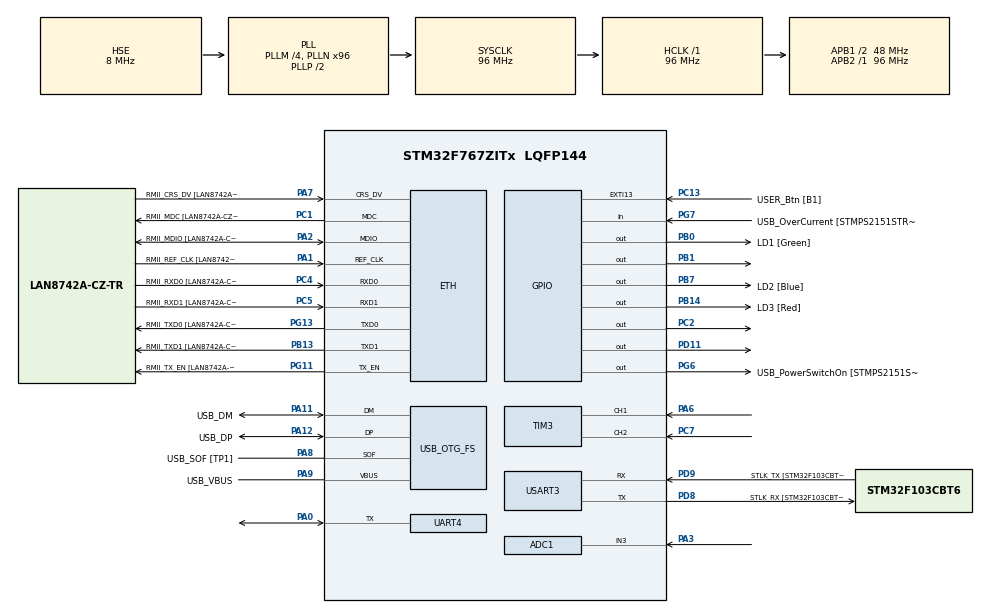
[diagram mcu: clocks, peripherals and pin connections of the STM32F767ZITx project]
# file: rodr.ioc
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ADC1.Channel-1\#ChannelRegularConversion=ADC_CHANNEL_3
ADC1.NbrOfConversionFlag=1
ADC1.Rank-1\#ChannelRegularConversion=1
ADC1.SamplingTime-1\#ChannelRegularConversion=ADC_SAMPLETIME_3CYCLES
ADC1.master=1
ETH.MediaInterface=HAL_ETH_RMII_MODE
ETH.PHY_Name=LAN8742A_PHY_ADDRESS
ETH.PHY_Value=0
ETH.PhyAddress=0
ETH.RxBuffLen=1536
FREERTOS.Mutexes01=dhtMutex,Dynamic,NULL,Available
FREERTOS.Queues01=UDPPressureQueue,4,float,0,Dynamic,NULL,NULL;posQueue,4,uint16_t,0,Dynamic,NULL,NULL;UDPTimestampQueue,4,uint32_t,0,Dynamic,NULL,NULL
FREERTOS.Tasks01=defaultTask,0,256,StartDefaultTask,Default,NULL,Dynamic,NULL,NULL;TCPServerTask,-3,512,StartTCPServerTask,Default,NULL,Dynamic,NULL,NULL;UDPStreamTask,-3,256,StartUDPStreamTask,Default,NULL,Dynamic,NULL,NULL;getPressureTask,-3,256,startGetPressureTask,Default,NULL,Dynamic,NULL,NULL;motorTask,-3,256,StartMotorTask,Default,NULL,Dynamic,NULL,NULL
FREERTOS.configTOTAL_HEAP_SIZE=20480
FREERTOS.configUSE_NEWLIB_REENTRANT=1
LWIP.BSP.number=1
LWIP.IP_ADDRESS=192.168.113.005
LWIP.LWIP_DHCP=0
LWIP.NETMASK_ADDRESS=255.255.255.000
LWIP.Version=v2.1.2_Cube
LWIP0.BSP.STBoard=false
LWIP0.BSP.api=BSP_COMPONENT_DRIVER
LWIP0.BSP.component=LAN8742
LWIP0.BSP.instance=LAN8742
LWIP0.BSP.name=Driver_PHY
LWIP0.BSP.semaphore=S_LAN8742
LWIP0.BSP.solution=LAN8742
Mcu.Family=STM32F7
Mcu.Name=STM32F767ZITx
Mcu.Package=LQFP144
NVIC.ETH_IRQn=true\:5\:0\:false\:false\:true\:true\:false\:true\:true
NVIC.PriorityGroup=NVIC_PRIORITYGROUP_4
NVIC.TIM8_TRG_COM_TIM14_IRQn=true\:15\:0\:false\:false\:true\:false\:false\:true\:true
NVIC.TimeBase=TIM8_TRG_COM_TIM14_IRQn
NVIC.TimeBaseIP=TIM14
PA0/WKUP.Mode=Half_duplex(single_wire_mode)
PA0/WKUP.Signal=UART4_TX
PA1.GPIO_Label=RMII_REF_CLK [LAN8742A-CZ-TR_REFCLK0]
PA1.Mode=RMII
PA1.Signal=ETH_REF_CLK
PA10.GPIO_Label=USB_ID
PA10.Signal=USB_OTG_FS_ID
PA11.GPIO_Label=USB_DM
PA11.Mode=Device_Only
PA11.Signal=USB_OTG_FS_DM
PA12.GPIO_Label=USB_DP
PA12.Mode=Device_Only
PA12.Signal=USB_OTG_FS_DP
PA13.GPIO_Label=TMS
PA13.Mode=Serial_Wire
PA13.Signal=SYS_JTMS-SWDIO
PA14.GPIO_Label=TCK
PA14.Mode=Serial_Wire
PA14.Signal=SYS_JTCK-SWCLK
PA2.GPIO_Label=RMII_MDIO [LAN8742A-CZ-TR_MDIO]
PA2.Mode=RMII
PA2.Signal=ETH_MDIO
PA3.Signal=ADCx_IN3
PA6.Signal=S_TIM3_CH1
PA7.GPIO_Label=RMII_CRS_DV [LAN8742A-CZ-TR_CRS_DV]
PA7.Mode=RMII
PA7.Signal=ETH_CRS_DV
PA8.GPIO_Label=USB_SOF [TP1]
PA8.Mode=Activate_SOF_FS
PA8.Signal=USB_OTG_FS_SOF
PA9.GPIO_Label=USB_VBUS
PA9.Mode=Activate_VBUS
PA9.Signal=USB_OTG_FS_VBUS
PB0.GPIO_Label=LD1 [Green]
PB0.Signal=GPIO_Output
PB1.Signal=GPIO_Output
PB13.GPIO_Label=RMII_TXD1 [LAN8742A-CZ-TR_TXD1]
PB13.Mode=RMII
PB13.Signal=ETH_TXD1
PB14.GPIO_Label=LD3 [Red]
PB14.Signal=GPIO_Output
PB3.GPIO_Label=SWO
PB3.Signal=SYS_JTDO-SWO
PB7.GPIO_Label=LD2 [Blue]
PB7.Signal=GPIO_Output
PC1.GPIO_Label=RMII_MDC [LAN8742A-CZ-TR_MDC]
PC1.Mode=RMII
PC1.Signal=ETH_MDC
PC13.GPIO_Label=USER_Btn [B1]
PC13.Signal=GPXTI13
PC14/OSC32_IN.Mode=LSE-External-Oscillator
PC14/OSC32_IN.Signal=RCC_OSC32_IN
PC15/OSC32_OUT.Mode=LSE-External-Oscillator
PC15/OSC32_OUT.Signal=RCC_OSC32_OUT
PC2.Signal=GPIO_Output
PC4.GPIO_Label=RMII_RXD0 [LAN8742A-CZ-TR_RXD0]
PC4.Mode=RMII
PC4.Signal=ETH_RXD0
PC5.GPIO_Label=RMII_RXD1 [LAN8742A-CZ-TR_RXD1]
PC5.Mode=RMII
PC5.Signal=ETH_RXD1
PC7.Signal=S_TIM3_CH2
PD11.Signal=GPIO_Output
PD8.GPIO_Label=STLK_RX [STM32F103CBT6_PA3]
PD8.Mode=Asynchronous
PD8.Signal=USART3_TX
PD9.GPIO_Label=STLK_TX [STM32F103CBT6_PA2]
PD9.Mode=Asynchronous
PD9.Signal=USART3_RX
PG11.GPIO_Label=RMII_TX_EN [LAN8742A-CZ-TR_TXEN]
PG11.Mode=RMII
PG11.Signal=ETH_TX_EN
PG13.GPIO_Label=RMII_TXD0 [LAN8742A-CZ-TR_TXD0]
PG13.Mode=RMII
PG13.Signal=ETH_TXD0
PG6.GPIO_Label=USB_PowerSwitchOn [STMPS2151STR_EN]
PG6.Signal=GPIO_Output
PG7.GPIO_Label=USB_OverCurrent [STMPS2151STR_FAULT]
PG7.Signal=GPIO_Input
PH0/OSC_IN.GPIO_Label=MCO [STM32F103CBT6_PA8]
PH0/OSC_IN.Mode=HSE-External-Clock-Source
PH0/OSC_IN.Signal=RCC_OSC_IN
PH1/OSC_OUT.Mode=HSE-External-Clock-Source
PH1/OSC_OUT.Signal=RCC_OSC_OUT
ProjectManager.HeapSize=0x200
ProjectManager.StackSize=0x400
ProjectManager.TargetToolchain=STM32CubeIDE
RCC.48MHZClocksFreq_Value=24000000
RCC.AHBFreq_Value=96000000
RCC.APB1CLKDivider=RCC_HCLK_DIV2
RCC.APB1Freq_Value=48000000
RCC.APB1TimFreq_Value=96000000
RCC.APB2Freq_Value=96000000
RCC.APB2TimFreq_Value=96000000
RCC.CortexFreq_Value=96000000
RCC.HCLKFreq_Value=96000000
RCC.HSE_VALUE=8000000
RCC.HSI_VALUE=16000000
RCC.PLLM=4
RCC.PLLMUL=RCC_PLL_MUL9
RCC.PLLN=96
RCC.PLLQ=4
RCC.PRESCALERUSB=RCC_USBCLKSOURCE_PLL_DIV1_5
RCC.SYSCLKFreq_VALUE=96000000
RCC.SYSCLKSource=RCC_SYSCLKSOURCE_PLLCLK
RCC.SYSCLKSourceVirtual=RCC_SYSCLKSOURCE_PLLCLK
RCC.USBFreq_Value=48000000
RCC.VCOOutputFreq_Value=192000000
SH.ADCx_IN3.0=ADC1_IN3,IN3
SH.S_TIM3_CH1.0=TIM3_CH1,Encoder_Interface
SH.S_TIM3_CH2.0=TIM3_CH2,Encoder_Interface
TIM4.Prescaler=95
USART3.VirtualMode-Asynchronous=VM_ASYNC
USB_OTG_FS.VirtualMode=Device_Only
VP_FREERTOS_VS_CMSIS_V1.Mode=CMSIS_V1
VP_LWIP_VS_Enabled.Mode=Enabled
VP_SYS_VS_tim14.Mode=TIM14
VP_TIM4_VS_ClockSourceINT.Mode=Internal
board=NUCLEO-F767ZI

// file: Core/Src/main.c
/* USER CODE BEGIN Header */
/**
  ******************************************************************************
  * @file           : main.c
  * @brief          : Main program body
  ******************************************************************************
  * @attention
  *
  * Copyright (c) 2025 STMicroelectronics.
  * All rights reserved.
  *
  * This software is licensed under terms that can be found in the LICENSE file
  * in the root directory of this software component.
  * If no LICENSE file comes with this software, it is provided AS-IS.
  *
  ******************************************************************************
  */
/* USER CODE END Header */
#include "main.h"
#include "cmsis_os.h"
#include "lwip.h"

/* USER CODE BEGIN Includes */
#include <string.h>
#include <stdio.h>
#include "lwip/api.h"

#include "SEN0257.h"
#include "dht11.h"
/* USER CODE END Includes */

/* USER CODE BEGIN PTD */
typedef enum{
	UP = 0,
	DOWN
} Direction;
/* USER CODE END PTD */

/* USER CODE BEGIN PD */
#define MAX_MSG_SIZE 64

//dht
#define DHT11_GPIO_PORT GPIOA
#define DHT11_GPIO_PIN GPIO_PIN_0

//motor
#define PHASE_PORT GPIOC
#define PHASE_PIN GPIO_PIN_2
#define EN_PORT GPIOB
#define EN_PIN GPIO_PIN_1

#define MAX_POS 1220
#define MIN_POS 41
#define POS_TOLERANCE 1

/* USER CODE END PD */

ADC_HandleTypeDef hadc1;

TIM_HandleTypeDef htim3;
TIM_HandleTypeDef htim4;

UART_HandleTypeDef huart4;
UART_HandleTypeDef huart3;

PCD_HandleTypeDef hpcd_USB_OTG_FS;

osThreadId defaultTaskHandle;
osThreadId TCPServerTaskHandle;
osThreadId UDPStreamTaskHandle;
osThreadId getPressureTaskHandle;
osThreadId motorTaskHandle;
osMessageQId UDPPressureQueueHandle;
osMessageQId posQueueHandle;
osMessageQId UDPTimestampQueueHandle;
osMutexId dhtMutexHandle;
/* USER CODE BEGIN PV */
uint16_t temperature, humidity;
struct DHT11 dht = {
  DHT11_GPIO_PORT,
  DHT11_GPIO_PIN,
  &temperature,
  &humidity,
  &htim4
};
/* USER CODE END PV */

void SystemClock_Config(void);
static void MX_GPIO_Init(void);
static void MX_USART3_UART_Init(void);
static void MX_USB_OTG_FS_PCD_Init(void);
static void MX_ADC1_Init(void);
static void MX_TIM4_Init(void);
static void MX_TIM3_Init(void);
static void MX_UART4_Init(void);
void StartDefaultTask(void const * argument);
void StartTCPServerTask(void const * argument);
void StartUDPStreamTask(void const * argument);
void startGetPressureTask(void const * argument);
void StartMotorTask(void const * argument);

int main(void)
{

  /* MCU Configuration--------------------------------------------------------*/

  /* Reset of all peripherals, Initializes the Flash interface and the Systick. */
  HAL_Init();

  /* Configure the system clock */
  SystemClock_Config();

  /* Initialize all configured peripherals */
  MX_GPIO_Init();
  MX_USART3_UART_Init();
  MX_USB_OTG_FS_PCD_Init();
  MX_ADC1_Init();
  MX_TIM4_Init();
  MX_TIM3_Init();
  MX_UART4_Init();

  /* Create the mutex(es) */
  /* definition and creation of dhtMutex */
  osMutexDef(dhtMutex);
  dhtMutexHandle = osMutexCreate(osMutex(dhtMutex));

  /* Create the queue(s) */
  /* definition and creation of UDPPressureQueue */
  osMessageQDef(UDPPressureQueue, 4, float);
  UDPPressureQueueHandle = osMessageCreate(osMessageQ(UDPPressureQueue), NULL);

  /* definition and creation of posQueue */
  osMessageQDef(posQueue, 4, uint16_t);
  posQueueHandle = osMessageCreate(osMessageQ(posQueue), NULL);

  /* definition and creation of UDPTimestampQueue */
  osMessageQDef(UDPTimestampQueue, 4, uint32_t);
  UDPTimestampQueueHandle = osMessageCreate(osMessageQ(UDPTimestampQueue), NULL);

  /* Create the thread(s) */
  /* definition and creation of defaultTask */
  osThreadDef(defaultTask, StartDefaultTask, osPriorityNormal, 0, 256);
  defaultTaskHandle = osThreadCreate(osThread(defaultTask), NULL);

  /* definition and creation of TCPServerTask */
  osThreadDef(TCPServerTask, StartTCPServerTask, osPriorityIdle, 0, 512);
  TCPServerTaskHandle = osThreadCreate(osThread(TCPServerTask), NULL);

  /* definition and creation of UDPStreamTask */
  osThreadDef(UDPStreamTask, StartUDPStreamTask, osPriorityIdle, 0, 256);
  UDPStreamTaskHandle = osThreadCreate(osThread(UDPStreamTask), NULL);

  /* definition and creation of getPressureTask */
  osThreadDef(getPressureTask, startGetPressureTask, osPriorityIdle, 0, 256);
  getPressureTaskHandle = osThreadCreate(osThread(getPressureTask), NULL);

  /* definition and creation of motorTask */
  osThreadDef(motorTask, StartMotorTask, osPriorityIdle, 0, 256);
  motorTaskHandle = osThreadCreate(osThread(motorTask), NULL);

  /* Start scheduler */
  osKernelStart();

  /* We should never get here as control is now taken by the scheduler */

  /* Infinite loop */
  while (1)
  {

  }
}

void SystemClock_Config(void)
{
  RCC_OscInitTypeDef RCC_OscInitStruct = {0};
  RCC_ClkInitTypeDef RCC_ClkInitStruct = {0};

  /** Configure LSE Drive Capability
  */
  HAL_PWR_EnableBkUpAccess();

  /** Configure the main internal regulator output voltage
  */
  __HAL_RCC_PWR_CLK_ENABLE();
  __HAL_PWR_VOLTAGESCALING_CONFIG(PWR_REGULATOR_VOLTAGE_SCALE3);

  /** Initializes the RCC Oscillators according to the specified parameters
  * in the RCC_OscInitTypeDef structure.
  */
  RCC_OscInitStruct.OscillatorType = RCC_OSCILLATORTYPE_HSE;
  RCC_OscInitStruct.HSEState = RCC_HSE_BYPASS;
  RCC_OscInitStruct.PLL.PLLState = RCC_PLL_ON;
  RCC_OscInitStruct.PLL.PLLSource = RCC_PLLSOURCE_HSE;
  RCC_OscInitStruct.PLL.PLLM = 4;
  RCC_OscInitStruct.PLL.PLLN = 96;
  RCC_OscInitStruct.PLL.PLLP = RCC_PLLP_DIV2;
  RCC_OscInitStruct.PLL.PLLQ = 4;
  RCC_OscInitStruct.PLL.PLLR = 2;
  if (HAL_RCC_OscConfig(&RCC_OscInitStruct) != HAL_OK)
  {
    Error_Handler();
  }

  /** Activate the Over-Drive mode
  */
  if (HAL_PWREx_EnableOverDrive() != HAL_OK)
  {
    Error_Handler();
  }

  /** Initializes the CPU, AHB and APB buses clocks
  */
  RCC_ClkInitStruct.ClockType = RCC_CLOCKTYPE_HCLK|RCC_CLOCKTYPE_SYSCLK
                              |RCC_CLOCKTYPE_PCLK1|RCC_CLOCKTYPE_PCLK2;
  RCC_ClkInitStruct.SYSCLKSource = RCC_SYSCLKSOURCE_PLLCLK;
  RCC_ClkInitStruct.AHBCLKDivider = RCC_SYSCLK_DIV1;
  RCC_ClkInitStruct.APB1CLKDivider = RCC_HCLK_DIV2;
  RCC_ClkInitStruct.APB2CLKDivider = RCC_HCLK_DIV1;

  if (HAL_RCC_ClockConfig(&RCC_ClkInitStruct, FLASH_LATENCY_3) != HAL_OK)
  {
    Error_Handler();
  }
}

static void MX_ADC1_Init(void)
{

  ADC_ChannelConfTypeDef sConfig = {0};

  /** Configure the global features of the ADC (Clock, Resolution, Data Alignment and number of conversion)
  */
  hadc1.Instance = ADC1;
  hadc1.Init.ClockPrescaler = ADC_CLOCK_SYNC_PCLK_DIV4;
  hadc1.Init.Resolution = ADC_RESOLUTION_12B;
  hadc1.Init.ScanConvMode = ADC_SCAN_DISABLE;
  hadc1.Init.ContinuousConvMode = DISABLE;
  hadc1.Init.DiscontinuousConvMode = DISABLE;
  hadc1.Init.ExternalTrigConvEdge = ADC_EXTERNALTRIGCONVEDGE_NONE;
  hadc1.Init.ExternalTrigConv = ADC_SOFTWARE_START;
  hadc1.Init.DataAlign = ADC_DATAALIGN_RIGHT;
  hadc1.Init.NbrOfConversion = 1;
  hadc1.Init.DMAContinuousRequests = DISABLE;
  hadc1.Init.EOCSelection = ADC_EOC_SINGLE_CONV;
  if (HAL_ADC_Init(&hadc1) != HAL_OK)
  {
    Error_Handler();
  }

  /** Configure for the selected ADC regular channel its corresponding rank in the sequencer and its sample time.
  */
  sConfig.Channel = ADC_CHANNEL_3;
  sConfig.Rank = ADC_REGULAR_RANK_1;
  sConfig.SamplingTime = ADC_SAMPLETIME_3CYCLES;
  if (HAL_ADC_ConfigChannel(&hadc1, &sConfig) != HAL_OK)
  {
    Error_Handler();
  }

}

static void MX_TIM3_Init(void)
{

  TIM_Encoder_InitTypeDef sConfig = {0};
  TIM_MasterConfigTypeDef sMasterConfig = {0};

  htim3.Instance = TIM3;
  htim3.Init.Prescaler = 0;
  htim3.Init.CounterMode = TIM_COUNTERMODE_UP;
  htim3.Init.Period = 65535;
  htim3.Init.ClockDivision = TIM_CLOCKDIVISION_DIV1;
  htim3.Init.AutoReloadPreload = TIM_AUTORELOAD_PRELOAD_DISABLE;
  sConfig.EncoderMode = TIM_ENCODERMODE_TI1;
  sConfig.IC1Polarity = TIM_ICPOLARITY_RISING;
  sConfig.IC1Selection = TIM_ICSELECTION_DIRECTTI;
  sConfig.IC1Prescaler = TIM_ICPSC_DIV1;
  sConfig.IC1Filter = 0;
  sConfig.IC2Polarity = TIM_ICPOLARITY_RISING;
  sConfig.IC2Selection = TIM_ICSELECTION_DIRECTTI;
  sConfig.IC2Prescaler = TIM_ICPSC_DIV1;
  sConfig.IC2Filter = 0;
  if (HAL_TIM_Encoder_Init(&htim3, &sConfig) != HAL_OK)
  {
    Error_Handler();
  }
  sMasterConfig.MasterOutputTrigger = TIM_TRGO_RESET;
  sMasterConfig.MasterSlaveMode = TIM_MASTERSLAVEMODE_DISABLE;
  if (HAL_TIMEx_MasterConfigSynchronization(&htim3, &sMasterConfig) != HAL_OK)
  {
    Error_Handler();
  }

}

static void MX_TIM4_Init(void)
{

  TIM_ClockConfigTypeDef sClockSourceConfig = {0};
  TIM_MasterConfigTypeDef sMasterConfig = {0};

  htim4.Instance = TIM4;
  htim4.Init.Prescaler = 95;
  htim4.Init.CounterMode = TIM_COUNTERMODE_UP;
  htim4.Init.Period = 65535;
  htim4.Init.ClockDivision = TIM_CLOCKDIVISION_DIV1;
  htim4.Init.AutoReloadPreload = TIM_AUTORELOAD_PRELOAD_DISABLE;
  if (HAL_TIM_Base_Init(&htim4) != HAL_OK)
  {
    Error_Handler();
  }
  sClockSourceConfig.ClockSource = TIM_CLOCKSOURCE_INTERNAL;
  if (HAL_TIM_ConfigClockSource(&htim4, &sClockSourceConfig) != HAL_OK)
  {
    Error_Handler();
  }
  sMasterConfig.MasterOutputTrigger = TIM_TRGO_RESET;
  sMasterConfig.MasterSlaveMode = TIM_MASTERSLAVEMODE_DISABLE;
  if (HAL_TIMEx_MasterConfigSynchronization(&htim4, &sMasterConfig) != HAL_OK)
  {
    Error_Handler();
  }

}

static void MX_UART4_Init(void)
{

  huart4.Instance = UART4;
  huart4.Init.BaudRate = 115200;
  huart4.Init.WordLength = UART_WORDLENGTH_8B;
  huart4.Init.StopBits = UART_STOPBITS_1;
  huart4.Init.Parity = UART_PARITY_NONE;
  huart4.Init.Mode = UART_MODE_TX_RX;
  huart4.Init.HwFlowCtl = UART_HWCONTROL_NONE;
  huart4.Init.OverSampling = UART_OVERSAMPLING_16;
  huart4.Init.OneBitSampling = UART_ONE_BIT_SAMPLE_DISABLE;
  huart4.AdvancedInit.AdvFeatureInit = UART_ADVFEATURE_NO_INIT;
  if (HAL_HalfDuplex_Init(&huart4) != HAL_OK)
  {
    Error_Handler();
  }

}

static void MX_USART3_UART_Init(void)
{

  huart3.Instance = USART3;
  huart3.Init.BaudRate = 115200;
  huart3.Init.WordLength = UART_WORDLENGTH_8B;
  huart3.Init.StopBits = UART_STOPBITS_1;
  huart3.Init.Parity = UART_PARITY_NONE;
  huart3.Init.Mode = UART_MODE_TX_RX;
  huart3.Init.HwFlowCtl = UART_HWCONTROL_NONE;
  huart3.Init.OverSampling = UART_OVERSAMPLING_16;
  huart3.Init.OneBitSampling = UART_ONE_BIT_SAMPLE_DISABLE;
  huart3.AdvancedInit.AdvFeatureInit = UART_ADVFEATURE_NO_INIT;
  if (HAL_UART_Init(&huart3) != HAL_OK)
  {
    Error_Handler();
  }

}

static void MX_USB_OTG_FS_PCD_Init(void)
{

  hpcd_USB_OTG_FS.Instance = USB_OTG_FS;
  hpcd_USB_OTG_FS.Init.dev_endpoints = 6;
  hpcd_USB_OTG_FS.Init.speed = PCD_SPEED_FULL;
  hpcd_USB_OTG_FS.Init.dma_enable = DISABLE;
  hpcd_USB_OTG_FS.Init.phy_itface = PCD_PHY_EMBEDDED;
  hpcd_USB_OTG_FS.Init.Sof_enable = ENABLE;
  hpcd_USB_OTG_FS.Init.low_power_enable = DISABLE;
  hpcd_USB_OTG_FS.Init.lpm_enable = DISABLE;
  hpcd_USB_OTG_FS.Init.vbus_sensing_enable = ENABLE;
  hpcd_USB_OTG_FS.Init.use_dedicated_ep1 = DISABLE;
  if (HAL_PCD_Init(&hpcd_USB_OTG_FS) != HAL_OK)
  {
    Error_Handler();
  }

}

static void MX_GPIO_Init(void)
{
  GPIO_InitTypeDef GPIO_InitStruct = {0};

  /* GPIO Ports Clock Enable */
  __HAL_RCC_GPIOC_CLK_ENABLE();
  __HAL_RCC_GPIOH_CLK_ENABLE();
  __HAL_RCC_GPIOA_CLK_ENABLE();
  __HAL_RCC_GPIOB_CLK_ENABLE();
  __HAL_RCC_GPIOD_CLK_ENABLE();
  __HAL_RCC_GPIOG_CLK_ENABLE();

  /*Configure GPIO pin Output Level */
  HAL_GPIO_WritePin(GPIOC, GPIO_PIN_2, GPIO_PIN_RESET);

  /*Configure GPIO pin Output Level */
  HAL_GPIO_WritePin(GPIOB, LD1_Pin|GPIO_PIN_1|LD3_Pin|LD2_Pin, GPIO_PIN_RESET);

  /*Configure GPIO pin Output Level */
  HAL_GPIO_WritePin(GPIOD, GPIO_PIN_11, GPIO_PIN_RESET);

  /*Configure GPIO pin Output Level */
  HAL_GPIO_WritePin(USB_PowerSwitchOn_GPIO_Port, USB_PowerSwitchOn_Pin, GPIO_PIN_RESET);

  /*Configure GPIO pin : USER_Btn_Pin */
  GPIO_InitStruct.Pin = USER_Btn_Pin;
  GPIO_InitStruct.Mode = GPIO_MODE_IT_RISING;
  GPIO_InitStruct.Pull = GPIO_NOPULL;
  HAL_GPIO_Init(USER_Btn_GPIO_Port, &GPIO_InitStruct);

  /*Configure GPIO pin : PC2 */
  GPIO_InitStruct.Pin = GPIO_PIN_2;
  GPIO_InitStruct.Mode = GPIO_MODE_OUTPUT_PP;
  GPIO_InitStruct.Pull = GPIO_NOPULL;
  GPIO_InitStruct.Speed = GPIO_SPEED_FREQ_LOW;
  HAL_GPIO_Init(GPIOC, &GPIO_InitStruct);

  /*Configure GPIO pins : LD1_Pin PB1 LD3_Pin LD2_Pin */
  GPIO_InitStruct.Pin = LD1_Pin|GPIO_PIN_1|LD3_Pin|LD2_Pin;
  GPIO_InitStruct.Mode = GPIO_MODE_OUTPUT_PP;
  GPIO_InitStruct.Pull = GPIO_NOPULL;
  GPIO_InitStruct.Speed = GPIO_SPEED_FREQ_LOW;
  HAL_GPIO_Init(GPIOB, &GPIO_InitStruct);

  /*Configure GPIO pin : PD11 */
  GPIO_InitStruct.Pin = GPIO_PIN_11;
  GPIO_InitStruct.Mode = GPIO_MODE_OUTPUT_PP;
  GPIO_InitStruct.Pull = GPIO_NOPULL;
  GPIO_InitStruct.Speed = GPIO_SPEED_FREQ_LOW;
  HAL_GPIO_Init(GPIOD, &GPIO_InitStruct);

  /*Configure GPIO pin : USB_PowerSwitchOn_Pin */
  GPIO_InitStruct.Pin = USB_PowerSwitchOn_Pin;
  GPIO_InitStruct.Mode = GPIO_MODE_OUTPUT_PP;
  GPIO_InitStruct.Pull = GPIO_NOPULL;
  GPIO_InitStruct.Speed = GPIO_SPEED_FREQ_LOW;
  HAL_GPIO_Init(USB_PowerSwitchOn_GPIO_Port, &GPIO_InitStruct);

  /*Configure GPIO pin : USB_OverCurrent_Pin */
  GPIO_InitStruct.Pin = USB_OverCurrent_Pin;
  GPIO_InitStruct.Mode = GPIO_MODE_INPUT;
  GPIO_InitStruct.Pull = GPIO_NOPULL;
  HAL_GPIO_Init(USB_OverCurrent_GPIO_Port, &GPIO_InitStruct);

}

void StartDefaultTask(void const * argument)
{
  /* init code for LWIP */
  MX_LWIP_Init();
  /* USER CODE BEGIN 5 */
  uint32_t time;

  /* Infinite loop */
  for(;;)
  {
	  time = osKernelSysTick();

	  //heartbeat
	  if (time % pdMS_TO_TICKS(200) == 0)
		  HAL_GPIO_TogglePin(LD2_GPIO_Port, LD2_Pin);

	  //dht cahnges response every 1 second
	  if (time % pdMS_TO_TICKS(1000) == 0)
	  {
		  if (osMutexWait(dhtMutexHandle, osWaitForever))
		  {
			  DHT11_ReadData(&dht);
			  osMutexRelease(dhtMutexHandle);
		  }
	  }

	  osDelay(1);
  }
  /* USER CODE END 5 */
}

void StartTCPServerTask(void const * argument)
{
  /* USER CODE BEGIN StartTCPServerTask */
	osDelay(100);
	//msg setup
	struct netbuf* pNetbuf;
	void* data;
	uint16_t data_len;
	static char msg[MAX_MSG_SIZE] = { 0 };
	uint16_t msg_len;

	//TCP setup
	struct netconn* pTCP_conn_server;
	pTCP_conn_server = netconn_new(NETCONN_TCP);

	netconn_bind(pTCP_conn_server, IP4_ADDR_ANY, 2000);

	struct netconn* pTCP_conn_client;
	err_t accept_err;

	netconn_listen(pTCP_conn_server);
  /* Infinite loop */
	for(;;)
  {
	  //try to acquire new connection
	  accept_err = netconn_accept(pTCP_conn_server, &pTCP_conn_client);

	  //process conn if acquired
	  if (accept_err == ERR_OK)
	  {
		  while (netconn_recv(pTCP_conn_client, &pNetbuf) == ERR_OK)
		  {
			  do
			  {
				  netbuf_data(pNetbuf, &data, &data_len);

				  //process data
				  if(pNetbuf->p->len >= strlen("PING"))
				  {
					  //handling ping
					  if (!strcmp((char*)pNetbuf->p->payload, "PING"))
						  msg_len = snprintf(msg, MAX_MSG_SIZE, "PONG");

					  //handling setPos
					  else if (!strncmp((char*)pNetbuf->p->payload, "SETPOS", 6))
					  {
						  unsigned int target_pos = 0;

						  if (sscanf((char*)pNetbuf->p->payload + 7, "%u", &target_pos))// +7 so that it skips the "SETPOS:" part
						  {
							  msg_len = snprintf(msg, MAX_MSG_SIZE, "SETPOS_OK");

							  if (target_pos > MAX_POS) target_pos = MAX_POS;
							  osMessagePut(posQueueHandle, target_pos, osWaitForever);
						  }
						  else
							  msg_len = snprintf(msg, MAX_MSG_SIZE, "SETPOS_ERR");
					  }
					  //sends the msg
					  netconn_write(pTCP_conn_client, msg, msg_len, NETCONN_COPY);
				  }
			  }while(netbuf_next(pNetbuf) >= 0);

			  //cleanup
			  netbuf_delete(pNetbuf);
		  }
		  netconn_close(pTCP_conn_client);
		  netconn_delete(pTCP_conn_client);
	  }

    osDelay(100);
  }
  /* USER CODE END StartTCPServerTask */
}

void StartUDPStreamTask(void const * argument)
{
  /* USER CODE BEGIN StartUDPStreamTask */
	osDelay(100);

	osEvent queue_ret;
	float pressure;
	uint16_t dht_humidity = 0;

	//msg setup
	static char message[MAX_MSG_SIZE];
	uint16_t msg_length = 0;

	struct netbuf* pNetbuf;
	pNetbuf = netbuf_new();

	//UDP setup
	struct netconn* pUDP_conn;
	pUDP_conn = netconn_new(NETCONN_UDP);
	netconn_bind(pUDP_conn, IP4_ADDR_ANY, 1000);

	//ipv4 destination setup
	ip_addr_t dst_addr;
	IP4_ADDR(&dst_addr, 192, 168, 113, 4);

 	/* Infinite loop */
	for(;;)
	{
		//dht
		if (osMutexWait(dhtMutexHandle, 100) == osOK)
		{
			dht_humidity = humidity;
			osMutexRelease(dhtMutexHandle);
		}

		//pressure
		queue_ret = osMessageGet(UDPPressureQueueHandle, osWaitForever);
		if (queue_ret.status == osEventMessage)
			pressure = *(float*)&queue_ret.value.v;

		//timestamp and send
		queue_ret = osMessageGet(UDPTimestampQueueHandle, osWaitForever);
		if (queue_ret.status == osEventMessage)
		{
			msg_length = snprintf(message, MAX_MSG_SIZE, "%lu;%f;%d", queue_ret.value.v, pressure, dht_humidity);
			netbuf_alloc(pNetbuf, msg_length);
			memcpy(pNetbuf->p->payload, message, msg_length);
			netconn_sendto(pUDP_conn, pNetbuf, &dst_addr, 5000);
			netbuf_free(pNetbuf);
		}
		osDelay(10);
	}
  /* USER CODE END StartUDPStreamTask */
}

void startGetPressureTask(void const * argument)
{
  /* USER CODE BEGIN startGetPressureTask */
	osDelay(100);
	uint32_t time = osKernelSysTick();

	float voltage = 0;
	float medianV = 0;

	static float voltage_samples[SHORT_WIN];
	int short_id = 0;
	bool short_filled = false;

	static float long_term_filtered[LONG_WIN];
	int long_id = 0;
	bool long_filled = false;

	static float fir_avg_buff[LONG_WIN] = { 0 };
	int fir_avg_id= 0;
	bool fir_avg_filled = false;

	float long_fir_avg = 0.0f;

	float pressure = 0;

	/* Infinite loop */
	for(;;)
	{
		voltage = SEN0257_readStableAnalog(5, &hadc1) * 5.0f / 4095.0f;

		voltage_samples[short_id] = voltage;
		short_id = GET_AVG_ID(short_id, SHORT_WIN);

		if (short_id == 0) short_filled = true;

		if (short_filled)
		{
			medianV = SEN0257_getMedian(voltage_samples);

			long_term_filtered[long_id] = medianV;
			long_id = GET_AVG_ID(long_id, LONG_WIN);

			if (long_id == 0) long_filled = true;
		}

		fir_avg_buff[fir_avg_id] = medianV;
		fir_avg_id = GET_AVG_ID(fir_avg_id, LONG_WIN);

		if (fir_avg_id == 0) fir_avg_filled = true;

		//calculate only when buffer is full
		if (fir_avg_filled)
		{
			float sum = 0.0f;
			for (int i = 0; i < LONG_WIN-1; i++)
				sum += fir_avg_buff[i];

			long_fir_avg = sum / LONG_WIN;
		}
		else
			long_fir_avg = medianV; // use current val until buff filled

		pressure = (long_fir_avg - OFFSET) * 250.0f;//this is output so it should be queued
		time = osKernelSysTick();

		//packing float into int to put it into queue
		osMessagePut(UDPPressureQueueHandle, *(uint32_t*)&pressure, osWaitForever);
		osMessagePut(UDPTimestampQueueHandle, time, osWaitForever);

		osDelay(20);//should be changed to fit whatever you want to do
	}

  /* USER CODE END startGetPressureTask */
}

void StartMotorTask(void const * argument)
{
	/* USER CODE BEGIN StartMotorTask */

	//done in phase/enable mode
	int32_t curr_pos = 0;
	uint16_t target = 0;
	Direction last_dir = UP;
	int32_t u = 0;

	osEvent queue_ret;

	//callibration
	HAL_GPIO_WritePin(EN_PORT, EN_PIN , 1);
	HAL_GPIO_WritePin(PHASE_PORT, PHASE_PIN, 1);
	osDelay(5000);
	HAL_GPIO_WritePin(EN_PORT, EN_PIN , 0);
	curr_pos = MIN_POS;

	/* Infinite loop */
	for(;;)
	{
		queue_ret = osMessageGet(posQueueHandle, osWaitForever);
		if (queue_ret.status == osEventMessage)
			target = queue_ret.value.v;

		if (target > MAX_POS) target = MAX_POS;
		else if (target < MIN_POS) target = MIN_POS;

		if (last_dir == UP && curr_pos < target)
		{
			last_dir = DOWN;
			curr_pos -= 40;
		}
		else if(last_dir == DOWN && curr_pos > target)
		{
			last_dir = UP;
			curr_pos += 40;
		}

		while(abs(target - curr_pos) > POS_TOLERANCE)
		{
			if((int16_t)__HAL_TIM_GET_COUNTER(&htim3) < 0)
				__HAL_TIM_SET_COUNTER(&htim3, 0);

			curr_pos = __HAL_TIM_GET_COUNTER(&htim3);
			u = (target - curr_pos);

			//motor control
			HAL_GPIO_WritePin(EN_PORT, EN_PIN , 1);

			if (u > 0) HAL_GPIO_WritePin(PHASE_PORT, PHASE_PIN, 0);

			else HAL_GPIO_WritePin(PHASE_PORT, PHASE_PIN, 1);

			osDelay(10);
		}
		HAL_GPIO_WritePin(EN_PORT, EN_PIN, 0);
	}

	/* USER CODE END StartMotorTask */
}

void HAL_TIM_PeriodElapsedCallback(TIM_HandleTypeDef *htim)
{
  if (htim->Instance == TIM14)
  {
    HAL_IncTick();
  }
}

void Error_Handler(void)
{
  __disable_irq();
  while (1)
  {
  }
}
